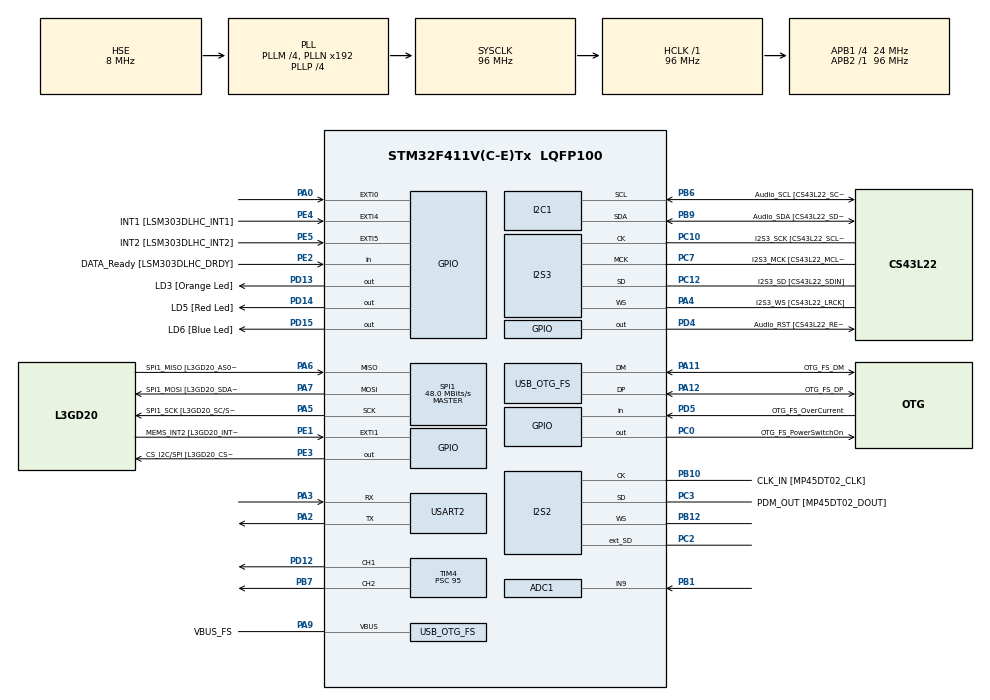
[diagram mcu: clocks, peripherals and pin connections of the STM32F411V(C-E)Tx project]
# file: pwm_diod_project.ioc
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ADC1.Channel-0\#ChannelRegularConversion=ADC_CHANNEL_9
ADC1.NbrOfConversionFlag=1
ADC1.Rank-0\#ChannelRegularConversion=1
ADC1.Resolution=ADC_RESOLUTION_6B
ADC1.SamplingTime-0\#ChannelRegularConversion=ADC_SAMPLETIME_3CYCLES
ADC1.master=1
I2S2.AudioFreq=I2S_AUDIOFREQ_96K
I2S2.ErrorAudioFreq=0.15 %
I2S2.FullDuplexMode=I2S_FULLDUPLEXMODE_ENABLE
I2S2.Instance=SPI$Index
I2S2.RealAudioFreq=96.153 KHz
I2S2.VirtualMode=I2S_MODE_MASTER
I2S3.AudioFreq=I2S_AUDIOFREQ_96K
I2S3.ErrorAudioFreq=-6.99 %
I2S3.FullDuplexMode=I2S_FULLDUPLEXMODE_DISABLE
I2S3.Instance=SPI$Index
I2S3.RealAudioFreq=89.285 KHz
I2S3.VirtualMode=I2S_MODE_MASTER
Mcu.Family=STM32F4
Mcu.Name=STM32F411V(C-E)Tx
Mcu.Package=LQFP100
NVIC.OTG_FS_IRQn=true\:0\:0\:false\:false\:true\:true\:true
NVIC.PriorityGroup=NVIC_PRIORITYGROUP_0
PA0-WKUP.GPIO_ModeDefaultEXTI=GPIO_MODE_EVT_RISING_FALLING
PA0-WKUP.Signal=GPXTI0
PA10.GPIO_Label=OTG_FS_ID
PA10.Signal=USB_OTG_FS_ID
PA11.GPIO_Label=OTG_FS_DM
PA11.Mode=Host_Only
PA11.Signal=USB_OTG_FS_DM
PA12.GPIO_Label=OTG_FS_DP
PA12.Mode=Host_Only
PA12.Signal=USB_OTG_FS_DP
PA13.GPIO_Label=SWDIO
PA13.Mode=Serial_Wire
PA13.Signal=SYS_JTMS-SWDIO
PA14.GPIO_Label=SWCLK
PA14.Mode=Serial_Wire
PA14.Signal=SYS_JTCK-SWCLK
PA2.Mode=Asynchronous
PA2.Signal=USART2_TX
PA3.Mode=Asynchronous
PA3.Signal=USART2_RX
PA4.GPIO_Label=I2S3_WS [CS43L22_LRCK]
PA4.GPIO_Mode=GPIO_MODE_AF_PP
PA4.GPIO_PuPd=GPIO_NOPULL
PA4.GPIO_Speed=GPIO_SPEED_FREQ_LOW
PA4.Mode=Half_Duplex_Master
PA4.Signal=I2S3_WS
PA5.GPIO_Label=SPI1_SCK [L3GD20_SC/SPC]
PA5.Mode=Full_Duplex_Master
PA5.Signal=SPI1_SCK
PA6.GPIO_Label=SPI1_MISO [L3GD20_AS0/SDO]
PA6.Mode=Full_Duplex_Master
PA6.Signal=SPI1_MISO
PA7.GPIO_Label=SPI1_MOSI [L3GD20_SDA/SDI/SDO]
PA7.Mode=Full_Duplex_Master
PA7.Signal=SPI1_MOSI
PA9.GPIO_Label=VBUS_FS
PA9.Mode=Activate_VBUS
PA9.Signal=USB_OTG_FS_VBUS
PB1.Signal=SharedAnalog_PB1
PB10.GPIO_Label=CLK_IN [MP45DT02_CLK]
PB10.Mode=Full_Duplex_Master
PB10.Signal=I2S2_CK
PB12.Mode=Full_Duplex_Master
PB12.Signal=I2S2_WS
PB3.GPIO_Label=SWO
PB3.Signal=SYS_JTDO-SWO
PB6.GPIO_Label=Audio_SCL [CS43L22_SCL]
PB6.GPIO_Mode=GPIO_MODE_AF_OD
PB6.GPIO_PuPd=GPIO_NOPULL
PB6.GPIO_Speed=GPIO_SPEED_FREQ_LOW
PB6.Mode=I2C
PB6.Signal=I2C1_SCL
PB7.Signal=S_TIM4_CH2
PB9.GPIO_Label=Audio_SDA [CS43L22_SDA]
PB9.GPIO_Mode=GPIO_MODE_AF_OD
PB9.GPIO_PuPd=GPIO_NOPULL
PB9.GPIO_Speed=GPIO_SPEED_FREQ_LOW
PB9.Mode=I2C
PB9.Signal=I2C1_SDA
PC0.GPIO_Label=OTG_FS_PowerSwitchOn
PC0.PinState=GPIO_PIN_SET
PC0.Signal=GPIO_Output
PC10.GPIO_Label=I2S3_SCK [CS43L22_SCLK]
PC10.GPIO_Mode=GPIO_MODE_AF_PP
PC10.GPIO_PuPd=GPIO_NOPULL
PC10.GPIO_Speed=GPIO_SPEED_FREQ_LOW
PC10.Mode=Half_Duplex_Master
PC10.Signal=I2S3_CK
PC12.GPIO_Label=I2S3_SD [CS43L22_SDIN]
PC12.GPIO_Mode=GPIO_MODE_AF_PP
PC12.GPIO_PuPd=GPIO_NOPULL
PC12.GPIO_Speed=GPIO_SPEED_FREQ_LOW
PC12.Mode=Half_Duplex_Master
PC12.Signal=I2S3_SD
PC14-OSC32_IN.GPIO_Label=PC14-OSC32_IN
PC14-OSC32_IN.Mode=LSE-External-Oscillator
PC14-OSC32_IN.Signal=RCC_OSC32_IN
PC15-OSC32_OUT.GPIO_Label=PC15-OSC32_OUT
PC15-OSC32_OUT.Mode=LSE-External-Oscillator
PC15-OSC32_OUT.Signal=RCC_OSC32_OUT
PC2.Mode=Full_Duplex_Master
PC2.Signal=I2S2_ext_SD
PC3.GPIO_Label=PDM_OUT [MP45DT02_DOUT]
PC3.Mode=Full_Duplex_Master
PC3.Signal=I2S2_SD
PC7.GPIO_Label=I2S3_MCK [CS43L22_MCLK]
PC7.GPIO_Mode=GPIO_MODE_AF_PP
PC7.GPIO_PuPd=GPIO_NOPULL
PC7.GPIO_Speed=GPIO_SPEED_FREQ_LOW
PC7.Mode=Master_Clock_Activated
PC7.Signal=I2S3_MCK
PD12.Signal=S_TIM4_CH1
PD13.GPIO_Label=LD3 [Orange Led]
PD13.GPIO_PuPd=GPIO_NOPULL
PD13.GPIO_Speed=GPIO_SPEED_FREQ_LOW
PD13.Signal=GPIO_Output
PD14.GPIO_Label=LD5 [Red Led]
PD14.GPIO_PuPd=GPIO_NOPULL
PD14.GPIO_Speed=GPIO_SPEED_FREQ_LOW
PD14.Signal=GPIO_Output
PD15.GPIO_Label=LD6 [Blue Led]
PD15.GPIO_PuPd=GPIO_NOPULL
PD15.GPIO_Speed=GPIO_SPEED_FREQ_LOW
PD15.Signal=GPIO_Output
PD4.GPIO_Label=Audio_RST [CS43L22_RESET]
PD4.Signal=GPIO_Output
PD5.GPIO_Label=OTG_FS_OverCurrent
PD5.Signal=GPIO_Input
PE1.GPIO_Label=MEMS_INT2 [L3GD20_INT2]
PE1.GPIO_ModeDefaultEXTI=GPIO_MODE_EVT_RISING
PE1.Signal=GPXTI1
PE2.GPIO_Label=DATA_Ready [LSM303DLHC_DRDY]
PE2.Signal=GPIO_Input
PE3.GPIO_Label=CS_I2C/SPI [L3GD20_CS_I2C/SPI]
PE3.Signal=GPIO_Output
PE4.GPIO_Label=INT1 [LSM303DLHC_INT1]
PE4.GPIO_ModeDefaultEXTI=GPIO_MODE_EVT_RISING
PE4.Signal=GPXTI4
PE5.GPIO_Label=INT2 [LSM303DLHC_INT2]
PE5.GPIO_ModeDefaultEXTI=GPIO_MODE_EVT_RISING
PE5.Signal=GPXTI5
PH0\ -\ OSC_IN.GPIO_Label=PH0-OSC_IN
PH0\ -\ OSC_IN.Mode=HSE-External-Oscillator
PH0\ -\ OSC_IN.Signal=RCC_OSC_IN
PH1\ -\ OSC_OUT.GPIO_Label=PH1-OSC_OUT
PH1\ -\ OSC_OUT.Mode=HSE-External-Oscillator
PH1\ -\ OSC_OUT.Signal=RCC_OSC_OUT
ProjectManager.HeapSize=0x200
ProjectManager.StackSize=0x400
ProjectManager.TargetToolchain=SW4STM32
RCC.48MHZClocksFreq_Value=48000000
RCC.AHBFreq_Value=96000000
RCC.APB1CLKDivider=RCC_HCLK_DIV4
RCC.APB1Freq_Value=24000000
RCC.APB1TimFreq_Value=48000000
RCC.APB2Freq_Value=96000000
RCC.APB2TimFreq_Value=96000000
RCC.CortexFreq_Value=96000000
RCC.HCLKFreq_Value=96000000
RCC.HSE_VALUE=8000000
RCC.HSI_VALUE=16000000
RCC.PLLI2SM=5
RCC.PLLI2SN=200
RCC.PLLM=4
RCC.PLLP=RCC_PLLP_DIV4
RCC.PLLQ=8
RCC.SYSCLKFreq_VALUE=96000000
RCC.SYSCLKSource=RCC_SYSCLKSOURCE_PLLCLK
RCC.VCOOutputFreq_Value=384000000
SH.S_TIM4_CH1.0=TIM4_CH1,PWM Generation1 CH1
SH.S_TIM4_CH2.0=TIM4_CH2,PWM Generation2 CH2
SH.SharedAnalog_PB1.0=GPIO_Analog
SH.SharedAnalog_PB1.1=ADC1_IN9,IN9
SPI1.BaudRatePrescaler=SPI_BAUDRATEPRESCALER_2
SPI1.CalculateBaudRate=48.0 MBits/s
SPI1.Direction=SPI_DIRECTION_2LINES
SPI1.Mode=SPI_MODE_MASTER
SPI1.VirtualType=VM_MASTER
TIM4.Channel-PWM\ Generation1\ CH1=TIM_CHANNEL_1
TIM4.Channel-PWM\ Generation2\ CH2=TIM_CHANNEL_2
TIM4.Period=100
TIM4.Prescaler=95
USART2.VirtualMode=VM_ASYNC
USB_HOST.BSP.number=1
USB_HOST.USBH_HandleTypeDef=hUsbHostFS
USB_HOST.VirtualModeFS=Cdc
USB_HOST0.BSP.STBoard=false
USB_HOST0.BSP.api=Unknown
USB_HOST0.BSP.i2caddr=0
USB_HOST0.BSP.i2creg=0
USB_HOST0.BSP.instance=PC0
USB_HOST0.BSP.ip=GPIO
USB_HOST0.BSP.mode=Output
USB_HOST0.BSP.name=Drive_VBUS_FS
USB_HOST0.BSP.solution=PC0
USB_OTG_FS.VirtualMode=Host_Only
USB_OTG_FS.phy_itface=HCD_PHY_EMBEDDED
VP_USB_HOST_VS_USB_HOST_CDC_FS.Mode=CDC_FS
board=STM32F411E-DISCO

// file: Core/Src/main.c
/* USER CODE BEGIN Header */
/**
  ******************************************************************************
  * @file           : main.c
  * @brief          : Main program body
  ******************************************************************************
  * @attention
  *
  * <h2><center>&copy; Copyright (c) 2020 STMicroelectronics.
  * All rights reserved.</center></h2>
  *
  * This software component is licensed by ST under Ultimate Liberty license
  * SLA0044, the "License"; You may not use this file except in compliance with
  * the License. You may obtain a copy of the License at:
  *                             www.st.com/SLA0044
  *
  ******************************************************************************
  */
/* USER CODE END Header */
#include "main.h"
#include "adc.h"
#include "i2c.h"
#include "i2s.h"
#include "spi.h"
#include "tim.h"
#include "usart.h"
#include "usb_host.h"
#include "gpio.h"

void SystemClock_Config(void);
void MX_USB_HOST_Process(void);

/* USER CODE BEGIN 0 */
volatile int voltage;
/* USER CODE END 0 */

int main(void)
{
  /* USER CODE BEGIN 1 */
int pwm_value = 0, step;
  /* USER CODE END 1 */

  /* MCU Configuration--------------------------------------------------------*/

  /* Reset of all peripherals, Initializes the Flash interface and the Systick. */
  HAL_Init();

  /* Configure the system clock */
  SystemClock_Config();

  /* Initialize all configured peripherals */
  MX_GPIO_Init();
  MX_I2C1_Init();
  MX_I2S2_Init();
  MX_I2S3_Init();
  MX_SPI1_Init();
  MX_USB_HOST_Init();
  MX_TIM4_Init();
  MX_USART2_UART_Init();
  MX_ADC1_Init();
  /* USER CODE BEGIN 2 */
  HAL_TIM_PWM_Start(&htim4, TIM_CHANNEL_1);
  /* USER CODE END 2 */

  /* Infinite loop */
  /* USER CODE BEGIN WHILE */
  int a = 0;
  while (1)
  {
	  HAL_UART_Receive(&huart2, (uint8_t) voltage, 1, 0);
		  //      if(pwm_value == 0) step = 10;
		  //      if(pwm_value == 1000) step = -10;
		  //      pwm_value += step;
	  HAL_GPIO_WritePin(GPIOB, GPIO_PIN_1, a);
    /* USER CODE END WHILE */
    MX_USB_HOST_Process();

  }
}

void SystemClock_Config(void)
{
  RCC_OscInitTypeDef RCC_OscInitStruct = {0};
  RCC_ClkInitTypeDef RCC_ClkInitStruct = {0};
  RCC_PeriphCLKInitTypeDef PeriphClkInitStruct = {0};

  /** Configure the main internal regulator output voltage
  */
  __HAL_RCC_PWR_CLK_ENABLE();
  __HAL_PWR_VOLTAGESCALING_CONFIG(PWR_REGULATOR_VOLTAGE_SCALE1);
  /** Initializes the RCC Oscillators according to the specified parameters
  * in the RCC_OscInitTypeDef structure.
  */
  RCC_OscInitStruct.OscillatorType = RCC_OSCILLATORTYPE_HSE;
  RCC_OscInitStruct.HSEState = RCC_HSE_ON;
  RCC_OscInitStruct.PLL.PLLState = RCC_PLL_ON;
  RCC_OscInitStruct.PLL.PLLSource = RCC_PLLSOURCE_HSE;
  RCC_OscInitStruct.PLL.PLLM = 4;
  RCC_OscInitStruct.PLL.PLLN = 192;
  RCC_OscInitStruct.PLL.PLLP = RCC_PLLP_DIV4;
  RCC_OscInitStruct.PLL.PLLQ = 8;
  if (HAL_RCC_OscConfig(&RCC_OscInitStruct) != HAL_OK)
  {
    Error_Handler();
  }
  /** Initializes the CPU, AHB and APB buses clocks
  */
  RCC_ClkInitStruct.ClockType = RCC_CLOCKTYPE_HCLK|RCC_CLOCKTYPE_SYSCLK
                              |RCC_CLOCKTYPE_PCLK1|RCC_CLOCKTYPE_PCLK2;
  RCC_ClkInitStruct.SYSCLKSource = RCC_SYSCLKSOURCE_PLLCLK;
  RCC_ClkInitStruct.AHBCLKDivider = RCC_SYSCLK_DIV1;
  RCC_ClkInitStruct.APB1CLKDivider = RCC_HCLK_DIV4;
  RCC_ClkInitStruct.APB2CLKDivider = RCC_HCLK_DIV1;

  if (HAL_RCC_ClockConfig(&RCC_ClkInitStruct, FLASH_LATENCY_3) != HAL_OK)
  {
    Error_Handler();
  }
  PeriphClkInitStruct.PeriphClockSelection = RCC_PERIPHCLK_I2S;
  PeriphClkInitStruct.PLLI2S.PLLI2SN = 200;
  PeriphClkInitStruct.PLLI2S.PLLI2SM = 5;
  PeriphClkInitStruct.PLLI2S.PLLI2SR = 2;
  if (HAL_RCCEx_PeriphCLKConfig(&PeriphClkInitStruct) != HAL_OK)
  {
    Error_Handler();
  }
}

/* USER CODE BEGIN 4 */
void user_pwm_setvalue(uint16_t value)
{
    TIM_OC_InitTypeDef sConfigOC;

    sConfigOC.OCMode = TIM_OCMODE_PWM1;
    sConfigOC.OCMode = TIM_OCMODE_PWM2;
    sConfigOC.Pulse = value;
    sConfigOC.OCPolarity = TIM_OCPOLARITY_HIGH;
    sConfigOC.OCFastMode = TIM_OCFAST_DISABLE;
    HAL_TIM_PWM_ConfigChannel(&htim4, &sConfigOC, TIM_CHANNEL_1);
    HAL_TIM_PWM_Start(&htim4, TIM_CHANNEL_1);
    HAL_TIM_PWM_ConfigChannel(&htim4, &sConfigOC, TIM_CHANNEL_2);
    HAL_TIM_PWM_Start(&htim4, TIM_CHANNEL_2);
}
/* USER CODE END 4 */

void Error_Handler(void)
{
}

/************************ (C) COPYRIGHT STMicroelectronics *****END OF FILE****/
